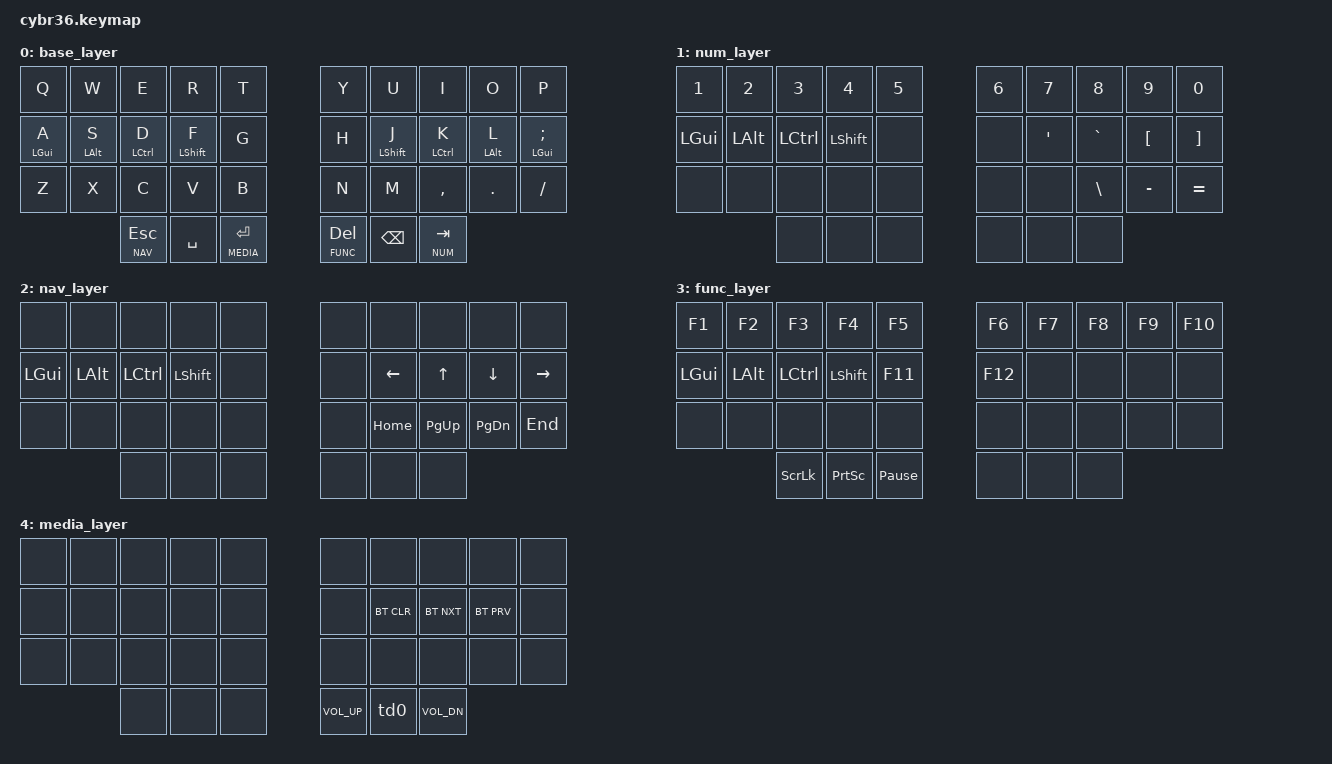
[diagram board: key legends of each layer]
#include <behaviors.dtsi>
#include <dt-bindings/zmk/keys.h>
#include <dt-bindings/zmk/bt.h>

#define BASE 0
#define NUM 1
#define NAV 2
#define FUNC 3
#define MEDIA 4



&mt {
    tapping-term-ms = <400>;
};

&lt {
    tapping-term-ms = <400>;
};

/ {

    behaviors {
        td0: tap_dance_0 {
            compatible = "zmk,behavior-tap-dance";
            label = "TAP_DANCE_0";
            #binding-cells = <0>;
            tapping-term-ms = <250>;
            bindings = <&kp C_PP>, <&kp C_NEXT>, <&kp C_PREV>;
        };
    };

    behaviors {
        hm: homerow_mods {
            compatible = "zmk,behavior-hold-tap";
            label = "HOMEROW_MODS";
            #binding-cells = <2>;
            tapping-term-ms = <300>;
            quick-tap-ms = <0>;
            flavor = "tap-preferred";
            bindings = <&kp>, <&kp>;
        };
    };

    keymap {
        compatible = "zmk,keymap";

        base_layer {

            bindings = <
    &kp Q      &kp W      &kp E       &kp R       &kp T                  &kp Y        &kp U       &kp I       &kp O      &kp P
    &hm LGUI A &hm LALT S &hm LCTRL D &hm LSHFT F &kp G                  &kp H        &hm LSHFT J &hm LCTRL K &hm LALT L &hm LGUI SEMI
    &kp Z      &kp X      &kp C       &kp V       &kp B                  &kp N        &kp M       &kp COMMA   &kp DOT    &kp FSLH
                          &lt NAV ESC &kp SPACE   &lt MEDIA RET          &lt FUNC DEL &kp BSPC    &lt NUM TAB     
            >;

        };

        num_layer {

            bindings = <
    &kp N1     &kp N2     &kp N3     &kp N4     &kp N5                         &kp N6     &kp N7     &kp N8     &kp N9     &kp N0      
    &kp LGUI   &kp LALT   &kp LCTRL  &kp LSHFT  &none                          &none      &kp SQT    &kp GRAVE  &kp LBKT   &kp RBKT      
    &none      &none      &none      &none      &none                          &none      &none      &kp BSLH   &kp MINUS  &kp EQUAL    
                          &none      &none      &none                          &none      &none      &none      
            >;

        };

        nav_layer {

            bindings = <
    &none      &none      &none      &none      &none                          &none      &none      &none      &none      &none      
    &kp LGUI   &kp LALT   &kp LCTRL  &kp LSHFT  &none                          &none      &kp LEFT   &kp UP     &kp DOWN   &kp RIGHT      
    &none      &none      &none      &none      &none                          &none      &kp HOME   &kp PG_UP  &kp PG_DN  &kp END    
                          &none      &none      &none                          &none      &none      &none      
            >;

        };

        func_layer {

            bindings = <
    &kp F1     &kp F2     &kp F3     &kp F4     &kp F5                         &kp F6     &kp F7     &kp F8     &kp F9     &kp F10          
    &kp LGUI   &kp LALT   &kp LCTRL  &kp LSHFT  &kp F11                        &kp F12    &none      &none      &none      &none      
    &none      &none      &none      &none      &none                          &none      &none      &none      &none      &none    
                          &kp SLCK   &kp PSCRN  &kp PAUSE_BREAK                &none      &none      &none      
            >;

        };

        media_layer {

            bindings = <
    &none      &none      &none      &none      &none                          &none      &none      &none      &none      &none      
    &none      &none      &none      &none      &none                          &none      &bt BT_CLR &bt BT_NXT &bt BT_PRV &none      
    &none      &none      &none      &none      &none                          &none      &none      &none      &none      &none    
                          &none      &none      &none                          &kp C_VOL_UP &td0     &kp C_VOL_DN      
            >;

        };
    };
};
